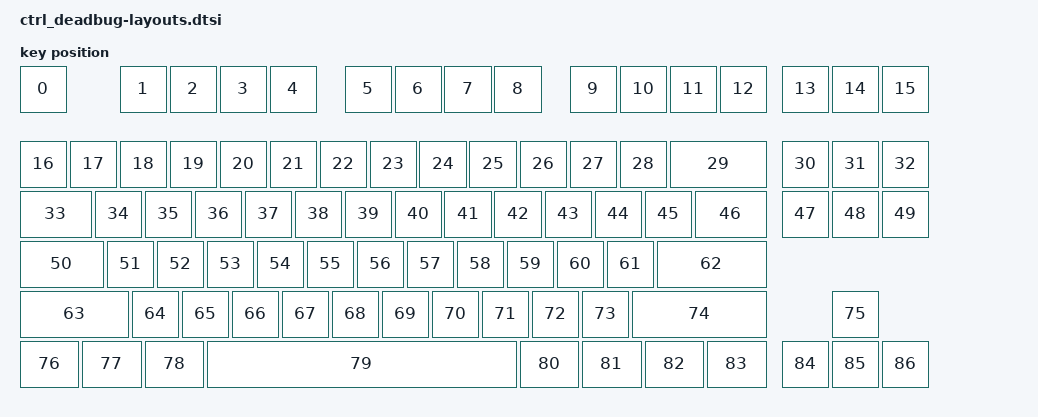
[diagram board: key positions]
#include <physical_layouts.dtsi>

/ {
    physical_layout_ctrl_deadbug: physical_layout_ctrl_deadbug {
        compatible = "zmk,physical-layout";
        display-name = "CTRL Deadbug";
        keys  //                     w   h    x    y     rot    rx    ry
            = <&key_physical_attrs 100 100    0    0       0     0     0>
            , <&key_physical_attrs 100 100  200    0       0   200     0>
            , <&key_physical_attrs 100 100  300    0       0   300     0>
            , <&key_physical_attrs 100 100  400    0       0   400     0>
            , <&key_physical_attrs 100 100  500    0       0   500     0>
            , <&key_physical_attrs 100 100  650    0       0   650     0>
            , <&key_physical_attrs 100 100  750    0       0   750     0>
            , <&key_physical_attrs 100 100  850    0       0   850     0>
            , <&key_physical_attrs 100 100  950    0       0   950     0>
            , <&key_physical_attrs 100 100 1100    0       0  1100     0>
            , <&key_physical_attrs 100 100 1200    0       0  1200     0>
            , <&key_physical_attrs 100 100 1300    0       0  1300     0>
            , <&key_physical_attrs 100 100 1400    0       0  1400     0>
            , <&key_physical_attrs 100 100 1525    0       0  1525     0>
            , <&key_physical_attrs 100 100 1625    0       0  1625     0>
            , <&key_physical_attrs 100 100 1725    0       0  1725     0>
            , <&key_physical_attrs 100 100    0  150       0     0   150>
            , <&key_physical_attrs 100 100  100  150       0   100   150>
            , <&key_physical_attrs 100 100  200  150       0   200   150>
            , <&key_physical_attrs 100 100  300  150       0   300   150>
            , <&key_physical_attrs 100 100  400  150       0   400   150>
            , <&key_physical_attrs 100 100  500  150       0   500   150>
            , <&key_physical_attrs 100 100  600  150       0   600   150>
            , <&key_physical_attrs 100 100  700  150       0   700   150>
            , <&key_physical_attrs 100 100  800  150       0   800   150>
            , <&key_physical_attrs 100 100  900  150       0   900   150>
            , <&key_physical_attrs 100 100 1000  150       0  1000   150>
            , <&key_physical_attrs 100 100 1100  150       0  1100   150>
            , <&key_physical_attrs 100 100 1200  150       0  1200   150>
            , <&key_physical_attrs 200 100 1300  150       0  1300   150>
            , <&key_physical_attrs 100 100 1525  150       0  1525   150>
            , <&key_physical_attrs 100 100 1625  150       0  1625   150>
            , <&key_physical_attrs 100 100 1725  150       0  1725   150>
            , <&key_physical_attrs 150 100    0  250       0     0   250>
            , <&key_physical_attrs 100 100  150  250       0   150   250>
            , <&key_physical_attrs 100 100  250  250       0   250   250>
            , <&key_physical_attrs 100 100  350  250       0   350   250>
            , <&key_physical_attrs 100 100  450  250       0   450   250>
            , <&key_physical_attrs 100 100  550  250       0   550   250>
            , <&key_physical_attrs 100 100  650  250       0   650   250>
            , <&key_physical_attrs 100 100  750  250       0   750   250>
            , <&key_physical_attrs 100 100  850  250       0   850   250>
            , <&key_physical_attrs 100 100  950  250       0   950   250>
            , <&key_physical_attrs 100 100 1050  250       0  1050   250>
            , <&key_physical_attrs 100 100 1150  250       0  1150   250>
            , <&key_physical_attrs 100 100 1250  250       0  1250   250>
            , <&key_physical_attrs 150 100 1350  250       0  1350   250>
            , <&key_physical_attrs 100 100 1525  250       0  1525   250>
            , <&key_physical_attrs 100 100 1625  250       0  1625   250>
            , <&key_physical_attrs 100 100 1725  250       0  1725   250>
            , <&key_physical_attrs 175 100    0  350       0     0   350>
            , <&key_physical_attrs 100 100  175  350       0   175   350>
            , <&key_physical_attrs 100 100  275  350       0   275   350>
            , <&key_physical_attrs 100 100  375  350       0   375   350>
            , <&key_physical_attrs 100 100  475  350       0   475   350>
            , <&key_physical_attrs 100 100  575  350       0   575   350>
            , <&key_physical_attrs 100 100  675  350       0   675   350>
            , <&key_physical_attrs 100 100  775  350       0   775   350>
            , <&key_physical_attrs 100 100  875  350       0   875   350>
            , <&key_physical_attrs 100 100  975  350       0   975   350>
            , <&key_physical_attrs 100 100 1075  350       0  1075   350>
            , <&key_physical_attrs 100 100 1175  350       0  1175   350>
            , <&key_physical_attrs 225 100 1275  350       0  1275   350>
            , <&key_physical_attrs 225 100    0  450       0     0   450>
            , <&key_physical_attrs 100 100  225  450       0   225   450>
            , <&key_physical_attrs 100 100  325  450       0   325   450>
            , <&key_physical_attrs 100 100  425  450       0   425   450>
            , <&key_physical_attrs 100 100  525  450       0   525   450>
            , <&key_physical_attrs 100 100  625  450       0   625   450>
            , <&key_physical_attrs 100 100  725  450       0   725   450>
            , <&key_physical_attrs 100 100  825  450       0   825   450>
            , <&key_physical_attrs 100 100  925  450       0   925   450>
            , <&key_physical_attrs 100 100 1025  450       0  1025   450>
            , <&key_physical_attrs 100 100 1125  450       0  1125   450>
            , <&key_physical_attrs 275 100 1225  450       0  1225   450>
            , <&key_physical_attrs 100 100 1625  450       0  1625   450>
            , <&key_physical_attrs 125 100    0  550       0     0   550>
            , <&key_physical_attrs 125 100  125  550       0   125   550>
            , <&key_physical_attrs 125 100  250  550       0   250   550>
            , <&key_physical_attrs 625 100  375  550       0   375   550>
            , <&key_physical_attrs 125 100 1000  550       0  1000   550>
            , <&key_physical_attrs 125 100 1125  550       0  1125   550>
            , <&key_physical_attrs 125 100 1250  550       0  1250   550>
            , <&key_physical_attrs 125 100 1375  550       0  1375   550>
            , <&key_physical_attrs 100 100 1525  550       0  1525   550>
            , <&key_physical_attrs 100 100 1625  550       0  1625   550>
            , <&key_physical_attrs 100 100 1725  550       0  1725   550>
            ;
    };
};
